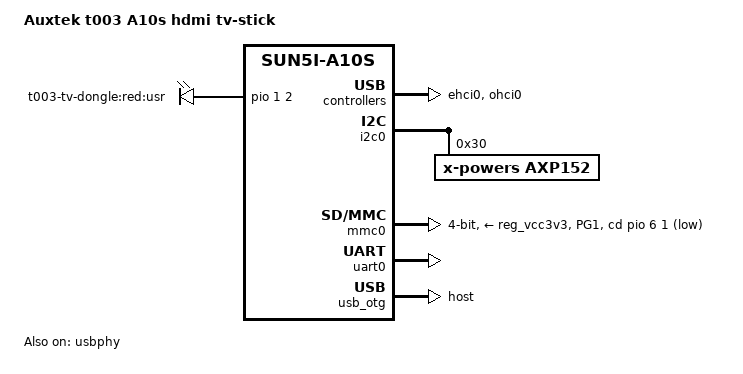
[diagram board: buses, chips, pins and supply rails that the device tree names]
/*
 * Copyright 2015 Hans de Goede <hdegoede@redhat.com>
 *
 * This file is dual-licensed: you can use it either under the terms
 * of the GPL or the X11 license, at your option. Note that this dual
 * licensing only applies to this file, and not this project as a
 * whole.
 *
 *  a) This file is free software; you can redistribute it and/or
 *     modify it under the terms of the GNU General Public License as
 *     published by the Free Software Foundation; either version 2 of the
 *     License, or (at your option) any later version.
 *
 *     This file is distributed in the hope that it will be useful,
 *     but WITHOUT ANY WARRANTY; without even the implied warranty of
 *     MERCHANTABILITY or FITNESS FOR A PARTICULAR PURPOSE.  See the
 *     GNU General Public License for more details.
 *
 * Or, alternatively,
 *
 *  b) Permission is hereby granted, free of charge, to any person
 *     obtaining a copy of this software and associated documentation
 *     files (the "Software"), to deal in the Software without
 *     restriction, including without limitation the rights to use,
 *     copy, modify, merge, publish, distribute, sublicense, and/or
 *     sell copies of the Software, and to permit persons to whom the
 *     Software is furnished to do so, subject to the following
 *     conditions:
 *
 *     The above copyright notice and this permission notice shall be
 *     included in all copies or substantial portions of the Software.
 *
 *     THE SOFTWARE IS PROVIDED "AS IS", WITHOUT WARRANTY OF ANY KIND,
 *     EXPRESS OR IMPLIED, INCLUDING BUT NOT LIMITED TO THE WARRANTIES
 *     OF MERCHANTABILITY, FITNESS FOR A PARTICULAR PURPOSE AND
 *     NONINFRINGEMENT. IN NO EVENT SHALL THE AUTHORS OR COPYRIGHT
 *     HOLDERS BE LIABLE FOR ANY CLAIM, DAMAGES OR OTHER LIABILITY,
 *     WHETHER IN AN ACTION OF CONTRACT, TORT OR OTHERWISE, ARISING
 *     FROM, OUT OF OR IN CONNECTION WITH THE SOFTWARE OR THE USE OR
 *     OTHER DEALINGS IN THE SOFTWARE.
 */

/dts-v1/;
#include "sun5i-a10s.dtsi"
#include "sunxi-common-regulators.dtsi"
#include <dt-bindings/gpio/gpio.h>

/ {
	model = "Auxtek t003 A10s hdmi tv-stick";
	compatible = "allwinner,auxtek-t003", "allwinner,sun5i-a10s";

	aliases {
		serial0 = &uart0;
	};

	chosen {
		stdout-path = "serial0:115200n8";
	};

	leds {
		compatible = "gpio-leds";
		pinctrl-names = "default";
		pinctrl-0 = <&led_pins_t003>;

		red {
			label = "t003-tv-dongle:red:usr";
			gpios = <&pio 1 2 GPIO_ACTIVE_HIGH>; /* PB2 */
			default-state = "on";
		};
	};
};

&ehci0 {
	status = "okay";
};

&i2c0 {
	pinctrl-names = "default";
	pinctrl-0 = <&i2c0_pins_a>;
	status = "okay";

	axp152: pmic@30 {
		compatible = "x-powers,axp152";
		reg = <0x30>;
		interrupts = <0>;
		interrupt-controller;
		#interrupt-cells = <1>;
	};
};

&mmc0 {
	pinctrl-names = "default";
	pinctrl-0 = <&mmc0_pins_a>, <&mmc0_cd_pin_t003>;
	vmmc-supply = <&reg_vcc3v3>;
	bus-width = <4>;
	cd-gpios = <&pio 6 1 GPIO_ACTIVE_HIGH>; /* PG1 */
	cd-inverted;
	status = "okay";
};

&ohci0 {
	status = "okay";
};

&otg_sram {
	status = "okay";
};

&pio {
	mmc0_cd_pin_t003: mmc0_cd_pin@0 {
		pins = "PG1";
		function = "gpio_in";
		bias-pull-up;
	};

	led_pins_t003: led_pins@0 {
		pins = "PB2";
		function = "gpio_out";
		drive-strength = <20>;
	};
};

&reg_usb0_vbus {
	gpio = <&pio 6 13 GPIO_ACTIVE_HIGH>; /* PG13 */
	status = "okay";
};

&reg_usb1_vbus {
	gpio = <&pio 1 10 GPIO_ACTIVE_HIGH>; /* PB10 */
	status = "okay";
};

&uart0 {
	pinctrl-names = "default";
	pinctrl-0 = <&uart0_pins_a>;
	status = "okay";
};

&usb0_vbus_pin_a {
	pins = "PG13";
};

&usb1_vbus_pin_a {
	pins = "PB10";
};

&usb_otg {
	dr_mode = "host";
	status = "okay";
};

&usbphy {
	usb0_vbus-supply = <&reg_usb0_vbus>;
	usb1_vbus-supply = <&reg_usb1_vbus>;
	status = "okay";
};
